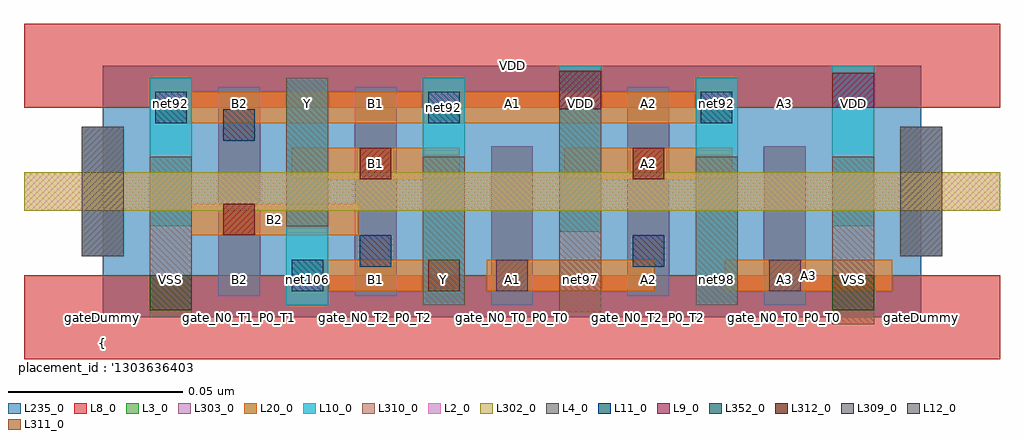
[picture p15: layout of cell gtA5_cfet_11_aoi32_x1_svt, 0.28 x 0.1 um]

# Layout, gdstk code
import gdstk
lib = gdstk.Library(unit=1e-6, precision=2.5e-10)
def R(c, l, rs):  # rectangles x0, y0, x1, y1
    for r in rs: c.add(gdstk.rectangle(r[:2], r[2:], *l))
def A(c, l, x, y, w, h, nx, ny, dx, dy):  # array of equal rectangles
    R(c, l, [(x+i*dx, y+j*dy, x+i*dx+w, y+j*dy+h) for i in range(nx) for j in range(ny)])
L2_0 = (2, 0)
L3_0 = (3, 0)
L4_0 = (4, 0)
L8_0 = (8, 0)
L9_0 = (9, 0)
L10_0 = (10, 0)
L11_0 = (11, 0)
L12_0 = (12, 0)
L20_0 = (20, 0)
L235_0 = (235, 0)
L302_0 = (302, 0)
L303_0 = (303, 0)
L309_0 = (309, 0)
L310_0 = (310, 0)
L311_0 = (311, 0)
L312_0 = (312, 0)
L352_0 = (352, 0)

gta5_cfet_11_aoi32_x1_sv = lib.new_cell('gtA5_cfet_11_aoi32_x1_svt')
R(gta5_cfet_11_aoi32_x1_sv, L2_0, [(-0.0225,0.0305,0.2565,0.0415)])
R(gta5_cfet_11_aoi32_x1_sv, L3_0, [(0.111,0.0035,0.123,0.049), (0.189,0.0035,0.201,0.049), (0.033,0.006,0.045,0.066), (0.072,0.006,0.084,0.066), (0.15,0.006,0.162,0.066), (-0.006,0.0175,0.006,0.0545), (0.228,0.0175,0.24,0.0545)])
R(gta5_cfet_11_aoi32_x1_sv, L4_0, [(-0.006,0.0175,0.006,0.0545), (0.228,0.0175,0.24,0.0545)])
R(gta5_cfet_11_aoi32_x1_sv, L8_0, [(-0.0225,-0.012,0.2565,0.012), (-0.0225,0.06,0.2565,0.084)])
R(gta5_cfet_11_aoi32_x1_sv, L9_0, [(0.1305,0.0595,0.1425,0.0705), (0.2085,0.06,0.2205,0.07)])
R(gta5_cfet_11_aoi32_x1_sv, L10_0, [(0.0525,0.0035,0.0645,0.0685), (0.0915,0.0035,0.1035,0.0685), (0.1695,0.0035,0.1815,0.0685), (0.1305,0.0245,0.1425,0.072), (0.0135,0.026,0.0255,0.0685), (0.2085,0.026,0.2205,0.072)])
A(gta5_cfet_11_aoi32_x1_sv, L11_0, 0.015, 0.0555, 0.009, 0.009, 3, 1, 0.078, 0)
R(gta5_cfet_11_aoi32_x1_sv, L11_0, [(0.054,0.0075,0.063,0.0165)])
R(gta5_cfet_11_aoi32_x1_sv, L12_0, [(0.1125,0.0075,0.1215,0.0165), (0.1905,0.0075,0.1995,0.0165)])
R(gta5_cfet_11_aoi32_x1_sv, L20_0, [(0.054,0.0075,0.102,0.0165), (0.1098,0.0075,0.1578,0.0165), (0.1777,0.0075,0.2258,0.0165), (0.0253,0.0235,0.0732,0.0325), (0.054,0.0395,0.102,0.0485), (0.132,0.0395,0.18,0.0485), (0.015,0.0555,0.18,0.0645)])
R(gta5_cfet_11_aoi32_x1_sv, L235_0, [(0,0,0.234,0.072)])
R(gta5_cfet_11_aoi32_x1_sv, L302_0, [(-0.0225,0.0305,0.2565,0.0415)])
R(gta5_cfet_11_aoi32_x1_sv, L303_0, [(0.111,0.0035,0.123,0.049), (0.189,0.0035,0.201,0.049), (0.033,0.006,0.045,0.066), (0.072,0.006,0.084,0.066), (0.15,0.006,0.162,0.066), (-0.006,0.0175,0.006,0.0545), (0.228,0.0175,0.24,0.0545)])
R(gta5_cfet_11_aoi32_x1_sv, L309_0, [(0.0135,0.002,0.0255,0.012), (0.2085,0.002,0.2205,0.012)])
R(gta5_cfet_11_aoi32_x1_sv, L310_0, [(0.2085,-0.002,0.2205,0.046), (0.0135,0,0.0255,0.046), (0.1305,0.0015,0.1425,0.0705), (0.0915,0.0035,0.1035,0.046), (0.1695,0.0035,0.1815,0.046), (0.0525,0.026,0.0645,0.0685)])
R(gta5_cfet_11_aoi32_x1_sv, L311_0, [(0.093,0.0075,0.102,0.0165)])
R(gta5_cfet_11_aoi32_x1_sv, L312_0, [(0.0345,0.0235,0.0435,0.0325), (0.0735,0.0395,0.0825,0.0485), (0.1515,0.0395,0.1605,0.0485)])
R(gta5_cfet_11_aoi32_x1_sv, L352_0, [(0.0735,0.0145,0.0825,0.0235), (0.1515,0.0145,0.1605,0.0235), (0.0345,0.0505,0.0435,0.0595)])
gta5_cfet_11_aoi32_x1_sv.add(gdstk.Label('net92', (0.0975,0.06), layer=100, texttype=100))
gta5_cfet_11_aoi32_x1_sv.add(gdstk.Label('gateDummy', (0,0), layer=103, texttype=103))
gta5_cfet_11_aoi32_x1_sv.add(gdstk.Label('sd_N0_VSS_P0_T3', (0.0195,0), layer=103, texttype=103))
gta5_cfet_11_aoi32_x1_sv.add(gdstk.Label('gate_N0_T1_P0_T1', (0.039,0), layer=103, texttype=103))
gta5_cfet_11_aoi32_x1_sv.add(gdstk.Label('sd_N0_abut_P0_T0', (0.0585,0), layer=103, texttype=103))
gta5_cfet_11_aoi32_x1_sv.add(gdstk.Label('gate_N0_T2_P0_T2', (0.078,0), layer=103, texttype=103))
gta5_cfet_11_aoi32_x1_sv.add(gdstk.Label('sd_N0_T0_P0_T3', (0.0975,0), layer=103, texttype=103))
gta5_cfet_11_aoi32_x1_sv.add(gdstk.Label('gate_N0_T0_P0_T0', (0.117,0), layer=103, texttype=103))
gta5_cfet_11_aoi32_x1_sv.add(gdstk.Label('sd_P0_VDD', (0.1365,0), layer=103, texttype=103))
gta5_cfet_11_aoi32_x1_sv.add(gdstk.Label('gate_N0_T2_P0_T2', (0.156,0), layer=103, texttype=103))
gta5_cfet_11_aoi32_x1_sv.add(gdstk.Label('sd_N0_abut_P0_T3', (0.1755,0), layer=103, texttype=103))
gta5_cfet_11_aoi32_x1_sv.add(gdstk.Label('gate_N0_T0_P0_T0', (0.195,0), layer=103, texttype=103))
gta5_cfet_11_aoi32_x1_sv.add(gdstk.Label('sd_N0_VSS_P0_VDD', (0.2145,0), layer=103, texttype=103))
gta5_cfet_11_aoi32_x1_sv.add(gdstk.Label('gateDummy', (0.234,0), layer=103, texttype=103))
gta5_cfet_11_aoi32_x1_sv.add(gdstk.Label('}', (0,-0.0785), layer=104, texttype=104))
gta5_cfet_11_aoi32_x1_sv.add(gdstk.Label('  power : None', (0,-0.0713), layer=104, texttype=104))
gta5_cfet_11_aoi32_x1_sv.add(gdstk.Label('  performance : None', (0,-0.0643), layer=104, texttype=104))
gta5_cfet_11_aoi32_x1_sv.add(gdstk.Label("  solution_hash : '5408588690047350158'", (0,-0.057), layer=104, texttype=104))
gta5_cfet_11_aoi32_x1_sv.add(gdstk.Label('  number_m2 : 0', (0,-0.05), layer=104, texttype=104))
gta5_cfet_11_aoi32_x1_sv.add(gdstk.Label('  number_m1 : 0', (0,-0.0428), layer=104, texttype=104))
gta5_cfet_11_aoi32_x1_sv.add(gdstk.Label('  number_m0cuts : 0', (0,-0.0358), layer=104, texttype=104))
gta5_cfet_11_aoi32_x1_sv.add(gdstk.Label('  number_m0 : 7', (0,-0.0285), layer=104, texttype=104))
gta5_cfet_11_aoi32_x1_sv.add(gdstk.Label("  solution_number : '0000'", (0,-0.0215), layer=104, texttype=104))
gta5_cfet_11_aoi32_x1_sv.add(gdstk.Label("  placement_id : '13036364033459120895'", (0,-0.0143), layer=104, texttype=104))
gta5_cfet_11_aoi32_x1_sv.add(gdstk.Label('{', (0,-0.0073), layer=104, texttype=104))
gta5_cfet_11_aoi32_x1_sv.add(gdstk.Label('VSS', (0.0195,0.0108), layer=105, texttype=105))
gta5_cfet_11_aoi32_x1_sv.add(gdstk.Label('B2', (0.039,0.0108), layer=105, texttype=105))
gta5_cfet_11_aoi32_x1_sv.add(gdstk.Label('net106', (0.0585,0.0108), layer=105, texttype=105))
gta5_cfet_11_aoi32_x1_sv.add(gdstk.Label('B1', (0.078,0.0108), layer=105, texttype=105))
gta5_cfet_11_aoi32_x1_sv.add(gdstk.Label('Y', (0.0975,0.0108), layer=105, texttype=105))
gta5_cfet_11_aoi32_x1_sv.add(gdstk.Label('A1', (0.117,0.0108), layer=105, texttype=105))
gta5_cfet_11_aoi32_x1_sv.add(gdstk.Label('net97', (0.1365,0.0108), layer=105, texttype=105))
gta5_cfet_11_aoi32_x1_sv.add(gdstk.Label('A2', (0.156,0.0108), layer=105, texttype=105))
gta5_cfet_11_aoi32_x1_sv.add(gdstk.Label('net98', (0.1755,0.0108), layer=105, texttype=105))
gta5_cfet_11_aoi32_x1_sv.add(gdstk.Label('A3', (0.195,0.0108), layer=105, texttype=105))
gta5_cfet_11_aoi32_x1_sv.add(gdstk.Label('VSS', (0.2145,0.0108), layer=105, texttype=105))
gta5_cfet_11_aoi32_x1_sv.add(gdstk.Label('net92', (0.0195,0.0612), layer=105, texttype=105))
gta5_cfet_11_aoi32_x1_sv.add(gdstk.Label('B2', (0.039,0.0612), layer=105, texttype=105))
gta5_cfet_11_aoi32_x1_sv.add(gdstk.Label('Y', (0.0585,0.0612), layer=105, texttype=105))
gta5_cfet_11_aoi32_x1_sv.add(gdstk.Label('B1', (0.078,0.0612), layer=105, texttype=105))
gta5_cfet_11_aoi32_x1_sv.add(gdstk.Label('net92', (0.0975,0.0612), layer=105, texttype=105))
gta5_cfet_11_aoi32_x1_sv.add(gdstk.Label('A1', (0.117,0.0612), layer=105, texttype=105))
gta5_cfet_11_aoi32_x1_sv.add(gdstk.Label('VDD', (0.1365,0.0612), layer=105, texttype=105))
gta5_cfet_11_aoi32_x1_sv.add(gdstk.Label('A2', (0.156,0.0612), layer=105, texttype=105))
gta5_cfet_11_aoi32_x1_sv.add(gdstk.Label('net92', (0.1755,0.0612), layer=105, texttype=105))
gta5_cfet_11_aoi32_x1_sv.add(gdstk.Label('A3', (0.195,0.0612), layer=105, texttype=105))
gta5_cfet_11_aoi32_x1_sv.add(gdstk.Label('VDD', (0.2145,0.0612), layer=105, texttype=105))
gta5_cfet_11_aoi32_x1_sv.add(gdstk.Label('VSS', (0.117,0), layer=8, texttype=0))
gta5_cfet_11_aoi32_x1_sv.add(gdstk.Label('VDD', (0.117,0.072), layer=8, texttype=0))
gta5_cfet_11_aoi32_x1_sv.add(gdstk.Label('Y', (0.078,0.012), layer=20, texttype=251))
gta5_cfet_11_aoi32_x1_sv.add(gdstk.Label('A1', (0.1338,0.012), layer=20, texttype=251))
gta5_cfet_11_aoi32_x1_sv.add(gdstk.Label('A3', (0.2018,0.012), layer=20, texttype=251))
gta5_cfet_11_aoi32_x1_sv.add(gdstk.Label('B2', (0.0493,0.028), layer=20, texttype=251))
gta5_cfet_11_aoi32_x1_sv.add(gdstk.Label('B1', (0.078,0.044), layer=20, texttype=251))
gta5_cfet_11_aoi32_x1_sv.add(gdstk.Label('A2', (0.156,0.044), layer=20, texttype=251))
gta5_cfet_11_aoi32_x1_sv.add(gdstk.Label('gtA5_cfet_11_aoi32_x1_rvt_0', (0,0), layer=235, texttype=0))

lib.write_gds('gtA5_cfet_11_aoi32_x1_svt.gds')
